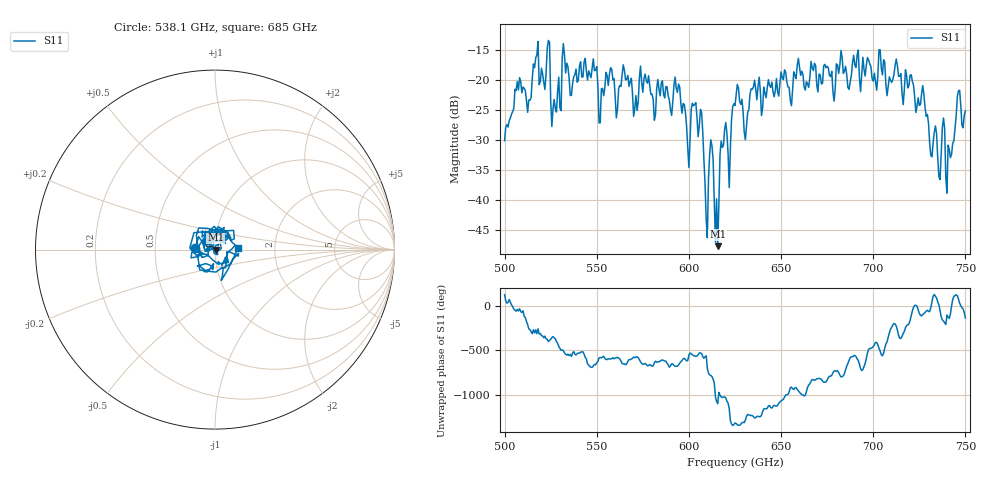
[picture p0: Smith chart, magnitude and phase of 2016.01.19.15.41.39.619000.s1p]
!Created with skrf (http://scikit-rf.org).
# GHz S RI R 50.0
!freq ReS11 ImS11
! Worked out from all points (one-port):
!   401 points, 500 GHz to 750 GHz, reference 50 ohm
!   lowest |S11| = -47.7 dB at 615.6 GHz (marker M1), VSWR 1.01, Z = 50.4 - j0.12 ohm
!   |S11| at or under -10 dB: start of sweep to end of sweep
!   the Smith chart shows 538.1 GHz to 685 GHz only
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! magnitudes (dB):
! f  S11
! 500 GHz  -30.2
! 506.9 GHz  -20.3
! 513.1 GHz  -23.4
! 516.9 GHz  -16.4
! 523.8 GHz  -13.5
! 526.9 GHz  -23.3
! 531.2 GHz  -16.4
! 562.5 GHz  -20.9
! 593.8 GHz  -22.1
! 599.4 GHz  -31.4
! 602.5 GHz  -24.3
! 606.2 GHz  -25.0
! 609.4 GHz  -43.3
! 611.9 GHz  -30.0
! 615.6 GHz  -47.7
! 618.1 GHz  -31.3
! 621.9 GHz  -38.0
! 625 GHz  -24.3
! 630.6 GHz  -30.0
! 635 GHz  -21.2
! 656.2 GHz  -21.7
! 687.5 GHz  -20.4
! 718.8 GHz  -21.4
! 727.5 GHz  -22.6
! 735.6 GHz  -36.2
! 740.6 GHz  -30.9
! 746.2 GHz  -21.8
! 750 GHz  -25.2
